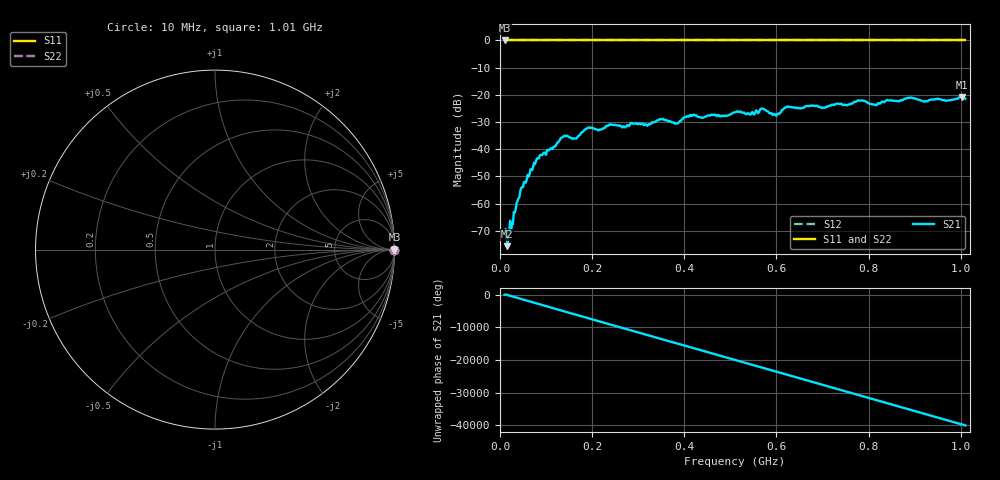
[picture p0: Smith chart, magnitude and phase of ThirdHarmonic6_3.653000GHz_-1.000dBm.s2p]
! 8/17/2025 12:18:17 PM
! C:\ANRITSUVNA\TEMP\TEMP.S2P
! CHANNEL.1
! TR.MEASUREMENT
! RAW.DATA
! RF.CORRECTION.OFF
! AVERAGING.OFF
! IF.BANDWIDTH: 5KHZ
! SWEEPTYPE:  FREQ.SWEEP(Linear)
! Reference Plane Port Info
! PORT:  PORT1  PORT2
! DISTANCE:  0  m  0  m
! TIME:  0  s  0  s
! PHASE.OFFSET:  0  deg.  0  deg.
! LOSS:  0  dB  0  dB
! REF.LOSS:  0  dB  0  dB
! REF.FREQ:  0  Hz  0  Hz
! Power Info
! POWER:  -20  dBm  -20  dBm
! EFF.POWER:  -20  dBm  -20  dBm
! SOURCE.ATTEN:  0  dB  0  dB
! TEST.ATTEN:  0  dB  0  dB
# GHZ S RI R 50.0
! FREQ.GHZ  S11RE  S11IM  S21RE  S21IM  S12RE  S12IM  S22RE  S22IM
!; PortSelection: Port_12
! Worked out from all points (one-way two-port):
!   501 points, 10 MHz to 1.01 GHz, reference 50 ohm
!   highest |S21| = -20.74 dB at 1.002 GHz (marker M1); lowest = -75.6 dB at 16 MHz (marker M2)
!   lowest |S11| = 0.0 dB at 10 MHz (marker M3)
!   |S11| at or under -10 dB: nowhere
!   |S22| runs from 0.0 to 0.0 dB; largest |S21 - S12| = 1.1
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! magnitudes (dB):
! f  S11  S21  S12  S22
! 10 MHz  0.0  -70.6  0.0  0.0
! 16 MHz  0.0  -75.6  0.0  0.0
! 20 MHz  0.0  -70.3  0.0  0.0
! 48 MHz  0.0  -53.9  0.0  0.0
! 78 MHz  0.0  -44.3  0.0  0.0
! 136 MHz  0.0  -35.6  0.0  0.0
! 162 MHz  0.0  -36.0  0.0  0.0
! 178 MHz  0.0  -33.7  0.0  0.0
! 344 MHz  0.0  -29.3  0.0  0.0
! 382 MHz  0.0  -30.3  0.0  0.0
! 416 MHz  0.0  -27.7  0.0  0.0
! 510 MHz  0.0  -26.3  0.0  0.0
! 548 MHz  0.0  -26.3  0.0  0.0
! 570 MHz  0.0  -25.1  0.0  0.0
! 596 MHz  0.0  -27.0  0.0  0.0
! 624 MHz  0.0  -24.2  0.0  0.0
! 678 MHz  0.0  -24.0  0.0  0.0
! 782 MHz  0.0  -22.1  0.0  0.0
! 814 MHz  0.0  -23.6  0.0  0.0
! 844 MHz  0.0  -22.1  0.0  0.0
! 1.002 GHz  0.0  -20.7  0.0  0.0
! 1.01 GHz  0.0  -21.4  0.0  0.0
